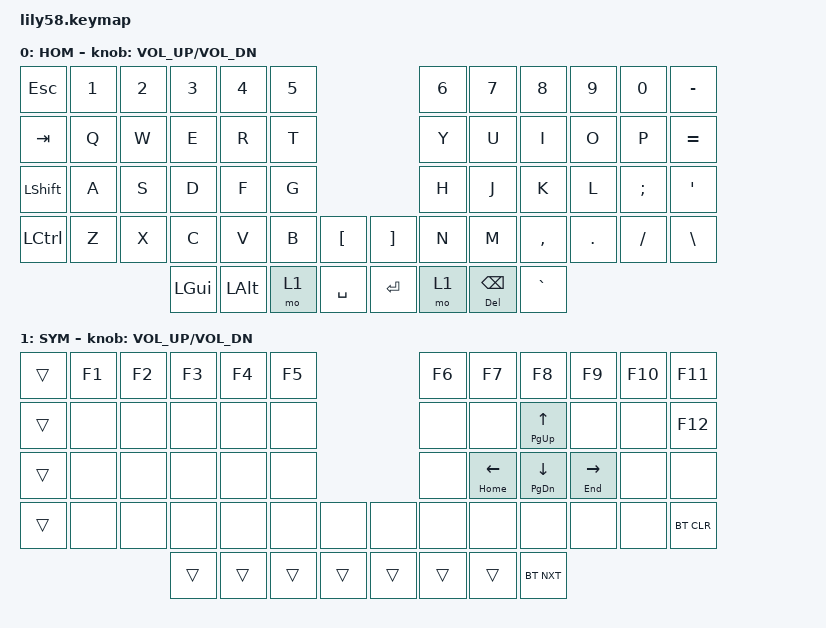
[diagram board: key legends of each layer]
/*
 * Copyright (c) 2020 The ZMK Contributors
 *
 * SPDX-License-Identifier: MIT
 */

#include <behaviors.dtsi>
#include <dt-bindings/zmk/bt.h>
#include <dt-bindings/zmk/keys.h>

/ {
    behaviors {
        LEFT_HOM: LEFT_HOM {
            compatible = "zmk,behavior-mod-morph";
            label = "LEFT_HOM";
            bindings = <&kp LEFT_ARROW>, <&kp HOME>;

            #binding-cells = <0>;
            mods = <(MOD_RALT|MOD_RGUI)>;
        };

        RIGHT_END: RIGHT_END {
            compatible = "zmk,behavior-mod-morph";
            label = "RIGHT_END";
            bindings = <&kp RIGHT>, <&none>;

            #binding-cells = <0>;
            mods = <(MOD_RALT|MOD_RGUI)>;
        };

        UP_PGUP: UP_PGUP {
            compatible = "zmk,behavior-mod-morph";
            label = "UP_PGUP";
            bindings = <&kp UP_ARROW>, <&kp PAGE_UP>;

            #binding-cells = <0>;
            mods = <(MOD_RALT|MOD_RGUI)>;
        };

        DOWN_PGDWN: DOWN_PGDWN {
            compatible = "zmk,behavior-mod-morph";
            label = "DOWN_PGDWN";
            bindings = <&kp DOWN>, <&kp PAGE_DOWN>;

            #binding-cells = <0>;
            mods = <(MOD_RALT|MOD_RGUI)>;
        };
    };

    keymap {
        compatible = "zmk,keymap";

        Home {
            // ------------------------------------------------------------------------------------------------------------
            // |  ESC  |  1  |  2  |  3   |  4   |  5   |                   |  6   |  7    |  8    |  9   |   0   |   `   |
            // |  TAB  |  Q  |  W  |  E   |  R   |  T   |                   |  Y   |  U    |  I    |  O   |   P   |   -   |
            // |  CTRL |  A  |  S  |  D   |  F   |  G   |                   |  H   |  J    |  K    |  L   |   ;   |   '   |
            // | SHIFT |  Z  |  X  |  C   |  V   |  B   |   "["  |  |  "]"  |  N   |  M    |  ,    |  .   |   /   | SHIFT |
            //                     | ALT  | GUI  | LOWER|  SPACE |  | ENTER | RAISE| BSPC  | GUI   |

            label = "HOM";
            bindings = <
&kp ESC           &kp N1  &kp N2  &kp N3    &kp N4        &kp N5                         &kp N6  &kp N7                &kp N8     &kp N9   &kp N0    &kp MINUS
&kp TAB           &kp Q   &kp W   &kp E     &kp R         &kp T                          &kp Y   &kp U                 &kp I      &kp O    &kp P     &kp EQUAL
&kp LSHIFT        &kp A   &kp S   &kp D     &kp F         &kp G                          &kp H   &kp J                 &kp K      &kp L    &kp SEMI  &kp SQT
&kp LEFT_CONTROL  &kp Z   &kp X   &kp C     &kp V         &kp B   &kp LBKT     &kp RBKT  &kp N   &kp M                 &kp COMMA  &kp DOT  &kp FSLH  &kp BACKSLASH
                                  &kp LGUI  &kp LEFT_ALT  &mo 1   &kp SPACE    &kp RET   &mo 1   &mt DELETE BACKSPACE  &kp GRAVE
            >;

            sensor-bindings = <&inc_dec_kp C_VOL_UP C_VOL_DN>;
        };

        Symbols {
            // ------------------------------------------------------------------------------------------------------------
            // | BTCLR | BT1 | BT2 |  BT3 |  BT4 |  BT5 |                   |      |       |       |      |       |       |
            // |  F1   |  F2 |  F3 |  F4  |  F5  |  F6  |                   |  F7  |  F8   |  F9   |  F10 |  F11  |  F12  |
            // |   `   |  !  |  @  |  #   |  $   |  %   |                   |  ^   |  &    |  *    |  (   |   )   |   ~   |
            // |       |     |     |      |      |      |        |  |       |      |  _    |  +    |  {   |   }   |  "|"  |
            //                     |      |      |      |        |  |       |      |       |       |

            label = "SYM";
            bindings = <
&trans  &kp F1  &kp F2  &kp F3  &kp F4  &kp F5                    &kp F6  &kp F7         &kp F8                &kp F9         &kp F10  &kp F11
&trans  &none   &none   &none   &none   &none                     &none   &none          &mt PAGE_UP UP_ARROW  &none          &none    &kp F12
&trans  &none   &none   &none   &none   &none                     &none   &mt HOME LEFT  &mt PAGE_DOWN DOWN    &mt END RIGHT  &none    &none
&trans  &none   &none   &none   &none   &none   &none     &none   &none   &none          &none                 &none          &none    &bt BT_CLR
                        &trans  &trans  &trans  &trans    &trans  &trans  &trans         &bt BT_NXT
            >;

            sensor-bindings = <&inc_dec_kp C_VOL_UP C_VOL_DN>;
        };
    };

    conditional_layers {
        compatible = "zmk,conditional-layers";

        NAV_TO_HOM {
            if-layers = <2>;
            then-layer = <0>;
        };
    };
};
